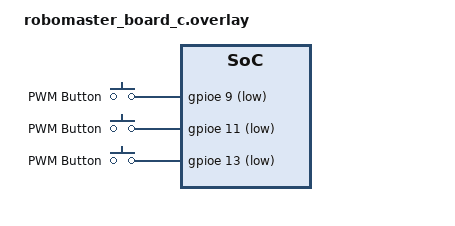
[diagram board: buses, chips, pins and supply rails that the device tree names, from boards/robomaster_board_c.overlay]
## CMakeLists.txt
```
# SPDX-License-Identifier: Apache-2.0

cmake_minimum_required(VERSION 3.20.0)

find_package(Zephyr REQUIRED HINTS $ENV{ZEPHYR_BASE})
project(motor)

target_include_directories(app PUBLIC
  ${CMAKE_CURRENT_SOURCE_DIR}/include
)

FILE(GLOB app_sources "src/*.c")
target_sources(app PRIVATE ${app_sources})
```

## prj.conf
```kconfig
# 启用线程分析器
CONFIG_THREAD_ANALYZER=y
CONFIG_THREAD_ANALYZER_USE_LOG=y
CONFIG_THREAD_ANALYZER_USE_PRINTK=n
CONFIG_THREAD_NAME=y
# CONFIG_THREAD_ANALYZER_AUTO=y
# CONFIG_THREAD_ANALYZER_AUTO_INTERVAL=5
CONFIG_THREAD_ANALYZER_LOG_LEVEL_INF=y
CONFIG_THREAD_ANALYZER_AUTO_SEPARATE_CORES=n


# # 调试
# CONFIG_LOG_MODE_IMMEDIATE=y
# CONFIG_ASSERT=y
# CONFIG_DEBUG_INFO=y
# CONFIG_THREAD_STACK_INFO=y
# CONFIG_STACK_SENTINEL=y

# 启用 Shell 支持
CONFIG_SHELL=n
CONFIG_SHELL_BACKENDS=n
CONFIG_SHELL_BACKEND_SERIAL=n

# 启用 UART 控制台
CONFIG_UART_CONSOLE=y

# 禁用 SEGGER RTT
CONFIG_USE_SEGGER_RTT=n

# 启用事件支持
CONFIG_EVENTS=y

# 启用控制台支持
CONFIG_CONSOLE=y
CONFIG_LOG=y

# 启用串行支持
CONFIG_SERIAL=y
CONFIG_SPI_ASYNC=y
# 禁用优化
CONFIG_NO_OPTIMIZATIONS=n

# 启用驱动
CONFIG_MOTOR=y
CONFIG_MOTOR_COMMON=y
CONFIG_MOTOR_DJI=y
CONFIG_MOTOR_MI=y
CONFIG_MOTOR_DM=y
CONFIG_MOTOR_LOG_LEVEL=4
CONFIG_CAN=y
CONFIG_MOTOR_INIT_PRIORITY=90
CONFIG_PID=y

CONFIG_ARES=y
CONFIG_ARES_SBUS=y
CONFIG_SBUS_INIT_PRIORITY=90
CONFIG_ARES_COMM_LIB=y
CONFIG_DUAL_PROPOSE_PROTOCOL=y
CONFIG_EKF_LIB=y

# use ASYNC uart API
CONFIG_SERIAL=y
CONFIG_UART_ASYNC_API=y
CONFIG_UART_INTERRUPT_DRIVEN=y
CONFIG_UART_INTERFACE=y
CONFIG_USB_BULK_INTERFACE=y

CONFIG_DMA=y
CONFIG_DMA_STM32=y  # STM32 DMA 驱动
CONFIG_UART_STM32=y # STM32 UART 驱动
# CONFIG_STM32_UART_DMA=y

# CONFIG_HAS_STM32CUBE=y
# CONFIG_USE_STM32_HAL_DMA=y
CONFIG_SPI=y
CONFIG_SPI_STM32=y

CONFIG_AUTO_PROBE_GYRO_BIAS=y
CONFIG_CHASSIS=y
CONFIG_CMSIS_DSP_QUATERNIONMATH=y
#
# Device Drivers
#
# CONFIG_SENSOR=y
# CONFIG_BMI08X=y
# CONFIG_BMI08X_ACCEL_TRIGGER_NONE is not set
# CONFIG_BMI08X_ACCEL_TRIGGER_GLOBAL_THREAD=y
# CONFIG_BMI08X_ACCEL_TRIGGER_OWN_THREAD is not set
# CONFIG_BMI08X_GYRO_TRIGGER_NONE is not set
# CONFIG_BMI08X_GYRO_TRIGGER_GLOBAL_THREAD=y
# CONFIG_BMI08X_GYRO_TRIGGER_OWN_THREAD is not set
# CONFIG_BMI08X_I2C_WRITE_BURST_SIZE=16


CONFIG_DEBUG_THREAD_INFO=y

CONFIG_MAIN_STACK_SIZE=4096

CONFIG_NET_BUF=y
CONFIG_UDC_DRIVER_LOG_LEVEL_WRN=y
CONFIG_USBD_LOG_LEVEL_WRN=y
```

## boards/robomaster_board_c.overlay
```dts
/ {
    chassis: chassis {
		compatible = "ares,chassis";
		status = "okay";
		wheels = <&steerwheel1 2550  1781>,
				<&steerwheel2  0 (-3110)>,
				<&steerwheel3 (-2550) 1781>;
		angle-pid = <&chassis_roll_angle_pid>;
		max_linear_accel = "7.8";
		max_gyro = "20";
	};
	steerwheel {
		steerwheel1: steerwheel1 {
			#wheel-cells = <2>;
			compatible = "ares,steerwheel";
			status = "okay";
			steer-motor = <&motor_steer0>;
			wheel-motor = <&motor_wheel0>;
			wheel-radius = "0.555";
			angle-offset = "126";
		};

		steerwheel2: steerwheel2 {
			#wheel-cells = <2>;
			compatible = "ares,steerwheel";
			status = "okay";
			steer-motor = <&motor_steer1>;
			wheel-motor = <&motor_wheel1>;
			wheel-radius = "0.555";
			angle-offset = "36";
		};

		steerwheel3: steerwheel3 {
			#wheel-cells = <2>;
			compatible = "ares,steerwheel";
			status = "okay";
			steer-motor = <&motor_steer2>;
			wheel-motor = <&motor_wheel2>;
			wheel-radius = "0.555";
			angle-offset = "81";
		};
	};

	rm_motor {
		motor_wheel0: motor_wheel0{
			compatible = "dji,motor";
            is_m3508;
			id = <1>;
            rx_id = <0x201>;
            tx_id = <0x200>;
			gear_ratio = "15.7647";
			status = "okay";
			can_channel = <&can1>;
			controllers = <&wheel_angle_pid &wheel_speed_pid>;
			capabilities = "angle", "speed";
		};

		motor_wheel1: motor_wheel1{
			compatible = "dji,motor";
            is_m3508;
			id = <2>;
            rx_id = <0x202>;
            tx_id = <0x200>;
			gear_ratio = "15.7647";
			status = "okay";
			can_channel = <&can1>;
			controllers = <&wheel_angle_pid &wheel_speed_pid>;
			capabilities = "angle", "speed";
		};

		motor_wheel2: motor_wheel2{
			compatible = "dji,motor";
            is_m3508;
			id = <3>;
            rx_id = <0x203>;
            tx_id = <0x200>;
			gear_ratio = "15.7647";
			status = "okay";
			can_channel = <&can2>;
			controllers = <&wheel_angle_pid &wheel_speed_pid>;
			capabilities = "angle", "speed";
		};

		motor_steer0: motor_steer0{
			compatible = "dji,motor";
			is_m2006;
			id = <4>;
			rx_id = <0x204>;
			tx_id = <0x200>;
			gear_ratio = "36.0";
			status = "okay";
			can_channel = <&can1>;
			controllers = <&steer_angle_pid &steer_speed_pid>;
			capabilities = "angle", "speed";
			minor_arc;
		};

		motor_steer1: motor_steer1{
			compatible = "dji,motor";
			is_m2006;
			id = <5>;
			rx_id = <0x205>;
			tx_id = <0x1FF>;
			gear_ratio = "36.0";
			status = "okay";
			can_channel = <&can1>;
			controllers = <&steer_angle_pid &steer_speed_pid>;
			capabilities = "angle", "speed";
			minor_arc;
		};

		motor_steer2: motor_steer2{
			compatible = "dji,motor";
			is_m2006;
			id = <6>;
			rx_id = <0x206>;
			tx_id = <0x1FF>;
			gear_ratio = "36.0";
			status = "okay";
			can_channel = <&can2>;
			controllers = <&steer_angle_pid &steer_speed_pid>;
			capabilities = "angle", "speed";
			minor_arc;
		};

        motor7: motor7{
            compatible = "dji,motor";
            is_m3508;
            id = <7>;
            rx_id = <0x207>;
            tx_id = <0x1FF>;
            gear_ratio = "12.94";
            status = "okay";
            can_channel = <&can2>;
            controllers = <&angle_pid_1 &speed_pid_1>;
            capabilities = "angle", "speed";
        };

        motor8: motor8{
            compatible = "dji,motor";
            is_m3508;
            id = <8>;
            rx_id = <0x208>;
            tx_id = <0x1FF>;
            gear_ratio = "12.94";
            status = "okay";
            can_channel = <&can2>;
            controllers = <&angle_pid_1 &speed_pid_1>;
            capabilities = "angle", "speed";
        };
};
    mi_motor{
        motor1: motor1{
            compatible = "mi,motor";
            id = <1>;
            rx_id = <0x01>;
            tx_id = <0x01>;
            gear_ratio = "7.75";
            status = "okay";
            can_channel = <&can2>;
            controllers = <&mit_pid_1 &angle_pid_2 &speed_pid_2>;
            capabilities = "mit", "pv", "vo";
        };
        
        motor2: motor2{
            compatible = "mi,motor";
            id = <2>;
            rx_id = <0x02>;
            tx_id = <0x02>;
            gear_ratio = "7.75";
            status = "okay";
            can_channel = <&can2>;
            controllers = <&mit_pid_1 &angle_pid_2 &speed_pid_2>;
            capabilities = "mit", "pv", "vo";
        };

    };

   	pid {
		mit_pid_1: mit_pid_1 {
			#controller-cells = <0>;
			compatible = "pid,single";
			k_p = "95";
			k_i = "0.0";
			k_d = "47.0";
		};
		angle_pid_1: angle_pid_1 {
			#controller-cells = <0>;
			compatible = "pid,single";
			k_p = "5";
			k_d = "0.1";
		};
		speed_pid_1: speed_pid_1 {
			#controller-cells = <0>;
			compatible = "pid,single";
			k_p = "0.1";
			k_d = "0.001";
		};
		angle_pid_2: angle_pid_2 {
			#controller-cells = <0>;
			compatible = "pid,single";
			k_p = "0.7";
			k_d = "8";
		};
		speed_pid_2: speed_pid_2 {
			#controller-cells = <0>;
			compatible = "pid,single";
			k_p = "0.88";
			k_d = "0.2";
		};
        chassis_roll_angle_pid: chassis_roll_angle_pid {
			#controller-cells = <0>;
			compatible = "pid,single";
			k_p = "0.2";
			k_d = "0.27";
		};
		steer_speed_pid: steer_speed_pid {
			#controller-cells = <0>;
			compatible = "pid,single";
			k_p = "0.85";
			k_d = "10.0";
			detri_lpf = "0.95";
			out_max = "1.2";
		};

		steer_angle_pid: steer_angle_pid {
			#controller-cells = <0>;
			compatible = "pid,single";
			k_p = "0.25";
			k_d = "12.0";
			detri_lpf = "0.9985";
		};
		wheel_speed_pid: wheel_speed_pid {
			#controller-cells = <0>;
			compatible = "pid,single";
			k_p = "0.2";
			k_d = "0.2";
			detri_lpf = "0.85";
			out_max = "5.0";
		};

		wheel_angle_pid: wheel_angle_pid {
			#controller-cells = <0>;
			compatible = "pid,single";
			k_p = "3.7";
			detri_lpf = "0.85";
		};
	};

    // emvalve {
    //     compatible = "gpio-keys";
    //     emvalve1: emvalve1 {
    //         gpios = <&gpiob 12 GPIO_ACTIVE_LOW>;
    //         label = "emvalve1";
    //     };
    //     emvalve2: emvalve2 {
    //         gpios = <&gpiob 13 GPIO_ACTIVE_LOW>;
    //         label = "emvalve2";
    //     };
    // };

    sbus0: sbus0 {
        compatible = "ares,sbus";
        status = "okay";
    };

    pwm_button {
		compatible = "gpio-keys";
		pwm_button1: button_1 {
			gpios = <&gpioe 9 (GPIO_PULL_UP | GPIO_ACTIVE_LOW)>;
			label = "PWM Button";
			zephyr,code = <INPUT_KEY_1>;
		};
		pwm_button2: button_2 {
			gpios = <&gpioe 11 (GPIO_PULL_UP | GPIO_ACTIVE_LOW)>;
			label = "PWM Button";
			zephyr,code = <INPUT_KEY_2>;
		};
		pwm_button3: button_3 {
			gpios = <&gpioe 13 (GPIO_PULL_UP | GPIO_ACTIVE_LOW)>;
			label = "PWM Button";
			zephyr,code = <INPUT_KEY_3>;
		};
	};
};
&cdc_acm_uart0 {
	status = "disabled";
};
```

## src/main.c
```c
#include <stdbool.h>
#include <stddef.h>
#include <stdint.h>
#include <stdio.h>
#include <math.h>
#include <zephyr/device.h>
#include <zephyr/logging/log.h>
#include <zephyr/devicetree.h>
#include <zephyr/drivers/can.h>
#include <zephyr/debug/thread_analyzer.h>
#include <zephyr/kernel.h>
#include <zephyr/sys/printk.h>
#include <zephyr/drivers/uart.h>
#include <zephyr/drivers/motor.h>
#include <zephyr/drivers/sbus.h>
#include <zephyr/drivers/sensor.h>
#include <ares/protocol/dual/dual_protocol.h>
#include <ares/interface/uart/uart.h>
#include <ares/interface/usb/usb_bulk.h>
#include <ares/ares_comm.h>
#include <zephyr/drivers/chassis.h>
#include <ares/ekf/imu_task.h>
//设备
#include "/home/librgod/zephyr_workspace/motor/app/yunqiu/include/sbus.h"
#include "/home/librgod/zephyr_workspace/motor/app/yunqiu/include/steerwheel_device.h"
#include "/home/librgod/zephyr_workspace/motor/app/yunqiu/include/tuishe_device.h"
#include "/home/librgod/zephyr_workspace/motor/app/yunqiu/include/yunqiu_device.h"

LOG_MODULE_REGISTER(main, LOG_LEVEL_DBG);

#define G 9.80665f
#define M_PI 3.14159265358979323846f
#define orig_angle_1 156.91f  //电机1的限位角度
#define orig_angle_2 136.32f  //电机2的限位角度
#define angle_range 113.23f    //电机的总限位角度
#define IK_EPSILON 1e-9

#define HIGH_BYTE(x) ((x) >> 8)
#define LOW_BYTE(x) ((x)&0xFF)
#define COMBINE_HL8(HIGH, LOW) ((HIGH << 8) + LOW)
 
#define yunqiu_sbus 4

#define CMD_ID_START_CHASSIS_CALIB   0x9001 // PC命令底盘板开始校准

 
//  --- 将 feedback_thread_data 的声明移到全局范围 ---
 struct k_thread feedback_thread_data; // <--- 这里是关键改动
 k_tid_t feedback_tid = 0; // 如果 feedback_tid 也声明在 main 里，也要移到这里

//线程
K_THREAD_DEFINE(chassis_, 3072, chassis_thread_, NULL, NULL, NULL, 1, 0, 100);
K_THREAD_DEFINE(ball_thread, 4096, ball_movement_thread, NULL, NULL, NULL, 1, 0, 0);

// USB速度控制回调函数
// int vel_func_cb(uint32_t arg1, uint32_t arg2, uint32_t arg3)
// {
//     // 把收到的二进制参数转回浮点数，并控制底盘
//     chassis_set_speed(chassis, TO_FLOAT(arg1) * 8, -TO_FLOAT(arg2) * 8);
//     chassis_set_gyro(chassis, TO_FLOAT(arg3) * 12.0f);
    
//     // 每隔一段时间打印一下收到的数据
//     if (usb_cnt++ % 200 == 0) {
//         LOG_INF("X: %f Y: %f Gyro: %f", (double)TO_FLOAT(arg1), (double)TO_FLOAT(arg2),
//                (double)TO_FLOAT(arg3));
//     }
//     return 0;
// }

// 1. 定义通信协议和USB接口实例
DUAL_PROPOSE_PROTOCOL_DEFINE(dual_protocol);
ARES_BULK_INTERFACE_DEFINE(usb_bulk_interface);

int main(void)
{   

    k_msleep(1000);

    // 2. 绑定协议和接口
    ares_bind_interface(&usb_bulk_interface, &dual_protocol);

    // 3. 注册命令处理函数
    dual_func_add(&dual_protocol, 0x1, (dual_trans_func_t)vel_func_cb);


    ares_bind_interface(&usb_bulk_interface, &dual_protocol);
	
	
	chassis_set_enabled(chassis, false);

	LOG_INF("Starting motor calibrations...");

	calibrate_motor_start(steer_motor1, &button1);
	calibrate_motor_start(steer_motor2, &button2);
	calibrate_motor_start(steer_motor3, &button3);

	LOG_INF("All calibration processes have been started.");

	
	// Wait for all calibrations to complete
	for (int i = 0; i < calib_instance_count; i++) {
		k_sem_take(&calib_data[i].completion_sem, K_FOREVER);
	}
	begin=1;
	LOG_INF("All motors have been calibrated successfully!");
	IMU_Sensor_trig_init(accel_dev, gyro_dev);
	IMU_Sensor_set_update_cb(Sensor_update_cb);
	chassis_set_enabled(chassis, true);
	chassis_set_gyro(chassis, 0);
	chassis_set_speed(chassis, 0, 0);
	dual_func_add(&dual_protocol, 0x1, (dual_trans_func_t)vel_func_cb);


    motor_control(motor1, ENABLE_MOTOR);
    k_sleep(K_MSEC(1));
    motor_control(motor2, ENABLE_MOTOR);
    k_sleep(K_MSEC(1));
    motor_set_mode(motor1, MIT);
    k_sleep(K_MSEC(1));
    motor_set_mode(motor2, MIT);
    k_sleep(K_MSEC(1));
    motor_control(motor1, SET_ZERO);
    k_sleep(K_MSEC(1));
    motor_control(motor2, SET_ZERO);
    k_sleep(K_MSEC(1));

    motor_set_angle(motor1, 0);
    motor_set_angle(motor2, 0);

    // 设备就绪检查
    while(1)
    {
        if (!device_is_ready(motor1) || !device_is_ready(motor2) ||
            !device_is_ready(motor7) || !device_is_ready(motor8)) {
            LOG_ERR("One or more motor devices are not ready!");
        }
        else {
            break;
        }
        k_msleep(500);
    }


    while (1) {
        // 检查运球线程状态
        if (k_mutex_lock(&sbus_mutex, K_MSEC(10)) == 0) {
            bool current_ball_state = sbus_get_bool(sbus, yunqiu_sbus);
            k_mutex_unlock(&sbus_mutex);
            
            if (current_ball_state) {
                ball_thread_should_stop = false;
                LOG_INF("Main: Ball movement active");
                k_msleep(100);
                continue;
            } else {
                ball_thread_should_stop = true;
            }
        }

        // 其他电机控制逻辑...
        if (k_mutex_lock(&motor_mutex, K_MSEC(10)) == 0) {
            if (!ball_movement_active) {
                execute_lifting_control();
                execute_arm_control();
            }
            k_mutex_unlock(&motor_mutex);
        }

        k_msleep(50);
    }
}

 
```

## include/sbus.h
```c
#ifndef SBUS_H
#define SBUS_H

#include <zephyr/device.h>
#include <zephyr/devicetree.h>
#include <zephyr/drivers/gpio.h>

#define SBUS_NODE DT_NODELABEL(sbus0)
extern const struct device *sbus;

bool sbus_get_bool(const struct device *sbus, int channel);

#endif //SBUS_H
```

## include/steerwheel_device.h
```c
#ifndef STEERWHEEL_DEVICE_H
#define STEERWHEEL_DEVICE_H

#include <zephyr/device.h>
#include <zephyr/devicetree.h>
#include <zephyr/drivers/gpio.h>
#include "ares/ekf/QuaternionEKF.h"

#define CPU_NODE DT_NODELABEL(cpu0)
extern const struct device *cpu_dev;


#define ACCEL_NODE DT_NODELABEL(bmi08x_accel)
extern const struct device *accel_dev;

#define GYRO_NODE DT_NODELABEL(bmi08x_gyro)
extern const struct device *gyro_dev;

#define WHEELMOTOR1_NODE DT_NODELABEL(motor_wheel0)
#define WHEELMOTOR2_NODE DT_NODELABEL(motor_wheel1)
#define WHEELMOTOR3_NODE DT_NODELABEL(motor_wheel2)

#define STEERMOTOR1_NODE DT_NODELABEL(motor_steer0)
#define STEERMOTOR2_NODE DT_NODELABEL(motor_steer1)
#define STEERMOTOR3_NODE DT_NODELABEL(motor_steer2)

#define BUTTON1_NODE DT_NODELABEL(pwm_button1)
#define BUTTON2_NODE DT_NODELABEL(pwm_button2)
#define BUTTON3_NODE DT_NODELABEL(pwm_button3)

#define CHASSIS_NODE DT_NODELABEL(chassis)

extern const struct device *wheel_motor1;
extern const struct device *wheel_motor2;
extern const struct device *wheel_motor3;

extern const struct device *steer_motor1;
extern const struct device *steer_motor2;
extern const struct device *steer_motor3;

static const struct gpio_dt_spec button1 = GPIO_DT_SPEC_GET_OR(BUTTON1_NODE, gpios, {0});
static const struct gpio_dt_spec button2 = GPIO_DT_SPEC_GET_OR(BUTTON2_NODE, gpios, {0});
static const struct gpio_dt_spec button3 = GPIO_DT_SPEC_GET_OR(BUTTON3_NODE, gpios, {0});

extern const struct device *chassis;


#define CHASSIS_SRC_SBUS
#define MAX_MOTORS_TO_CALIBRATE 3
#define CALIBRATION_STACK_SIZE  2048
extern int pub_cnt;
struct motor_calibration_data {
	const struct device *motor_dev;
	const struct gpio_dt_spec *button;
	struct gpio_callback button_cb;
	volatile bool first_calibrate_done;
	volatile bool second_calibrate_done;
	struct k_sem completion_sem;
};


extern uint32_t prev_vel_upd_time;
extern int usb_cnt;
extern uint8_t begin;
extern struct motor_calibration_data calib_data[MAX_MOTORS_TO_CALIBRATE];
extern int calib_instance_count;
void calibration_button_pressed(const struct device *dev, struct gpio_callback *cb, uint32_t pins);
void calibration_thread_entry(void *p1, void *p2, void *p3);
int calibrate_motor_start(const struct device *motor_dev, const struct gpio_dt_spec *button);
int vel_func_cb(uint32_t arg1, uint32_t arg2, uint32_t arg3);
void chassis_thread_(void *arg1, void *arg2, void *arg3);
void Sensor_update_cb(QEKF_INS_t *QEKF);
void trans_cb(int arg);

#endif // STEERWHEEL_DEVICE_H
```

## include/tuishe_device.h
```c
#ifndef TUISHE_DEVICE_H
#define TUISHE_DEVICE_H

#include <zephyr/device.h>
#include <zephyr/devicetree.h>
#include <zephyr/drivers/gpio.h>

#define MOTOR2_NODE DT_NODELABEL(motor2)//推射大臂mi

// #define EMValve1 DT_NODELABEL(emvalve1)//电磁阀
// #define EMValve2 DT_NODELABEL(emvalve2)//电磁阀

extern const struct device *motor2;

// extern const struct gpio_dt_spec emvalve1;
// extern const struct gpio_dt_spec emvalve2;

void execute_arm_control(void);//大臂
extern float current_angle2;


#endif // TUISHE_DEVICE_H
```

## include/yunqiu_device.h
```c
#ifndef  YUNQIU_DEVICE_H
#define YUNQIU_DEVICE_H

#include <zephyr/device.h>
#include <zephyr/devicetree.h>
#include <zephyr/drivers/gpio.h>

#define MOTOR1_NODE DT_NODELABEL(motor1)//运球抬升mi
#define MOTOR7_NODE DT_NODELABEL(motor7)//运球3508
#define MOTOR8_NODE DT_NODELABEL(motor8)//运球3508

extern const struct device *motor1;
extern const struct device *motor7;
extern const struct device *motor8;

extern float current_angle1;

void execute_ball_movement(void);
void ball_movement_thread(void *arg1, void *arg2, void *arg3);
void execute_lifting_control(void);//运球抬升

extern volatile bool ball_movement_active;
extern volatile bool ball_thread_should_stop;

extern struct k_mutex sbus_mutex;
extern struct k_mutex motor_mutex;


#endif // YUNQIU_DEVICE_H
```

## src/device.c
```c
#include "device.h"

// 实际定义设备指针变量
const struct device *cpu_dev = DEVICE_DT_GET(CPU_NODE);
const struct device *motor1 = DEVICE_DT_GET(MOTOR1_NODE);
const struct device *motor2 = DEVICE_DT_GET(MOTOR2_NODE);
const struct device *motor3 = DEVICE_DT_GET(MOTOR3_NODE);
// const struct device *motor4 = DEVICE_DT_GET(MOTOR4_NODE);
const struct device *motor5 = DEVICE_DT_GET(MOTOR5_NODE);
const struct device *motor6 = DEVICE_DT_GET(MOTOR6_NODE);
//const struct device *motor7 = DEVICE_DT_GET(MOTOR7_NODE);
//const struct device *motor8 = DEVICE_DT_GET(MOTOR8_NODE);
const struct device *sbus = DEVICE_DT_GET(SBUS_NODE);
const struct gpio_dt_spec emvalve = GPIO_DT_SPEC_GET_BY_IDX(EMValve, gpios, 0);
```

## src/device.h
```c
#ifndef DEVICE_H
#define DEVICE_H

#include <zephyr/device.h>
#include <zephyr/devicetree.h>
#include <zephyr/drivers/gpio.h>

/* Devicetree */
#define ACCEL_NODE DT_NODELABEL(bmi08x_accel)
const struct device *accel_dev = DEVICE_DT_GET(ACCEL_NODE);

#define GYRO_NODE DT_NODELABEL(bmi08x_gyro)
const struct device *gyro_dev = DEVICE_DT_GET(GYRO_NODE);

#define WHEELMOTOR1_NODE DT_NODELABEL(motor_wheel0)
#define WHEELMOTOR2_NODE DT_NODELABEL(motor_wheel1)
#define WHEELMOTOR3_NODE DT_NODELABEL(motor_wheel2)

#define STEERMOTOR1_NODE DT_NODELABEL(motor_steer0)
#define STEERMOTOR2_NODE DT_NODELABEL(motor_steer1)
#define STEERMOTOR3_NODE DT_NODELABEL(motor_steer2)

#define MOTOR1_NODE DT_NODELABEL(motor1)//运球抬升mi
#define MOTOR2_NODE DT_NODELABEL(motor2)//推射mi
#define MOTOR7_NODE DT_NODELABEL(motor7)//运球3508
#define MOTOR8_NODE DT_NODELABEL(motor8)//运球3508

#define BUTTON1_NODE DT_NODELABEL(pwm_button1)
#define BUTTON2_NODE DT_NODELABEL(pwm_button2)
#define BUTTON3_NODE DT_NODELABEL(pwm_button3)

#define CHASSIS_NODE DT_NODELABEL(chassis)

#define EMValve1 DT_NODELABEL(emvalve1)
#define EMValve2 DT_NODELABEL(emvalve2)
#define SBUS_NODE DT_NODELABEL(sbus0)
#define CPU_NODE DT_NODELABEL(cpu0)

const struct device *cpu_dev = DEVICE_DT_GET(CPU_NODE);

const struct device *wheel_motor1 = DEVICE_DT_GET(WHEELMOTOR1_NODE);
const struct device *wheel_motor2 = DEVICE_DT_GET(WHEELMOTOR2_NODE);
const struct device *wheel_motor3 = DEVICE_DT_GET(WHEELMOTOR3_NODE);

const struct device *steer_motor1 = DEVICE_DT_GET(STEERMOTOR1_NODE);
const struct device *steer_motor2 = DEVICE_DT_GET(STEERMOTOR2_NODE);
const struct device *steer_motor3 = DEVICE_DT_GET(STEERMOTOR3_NODE);

const struct device *motor1 = DEVICE_DT_GET(MOTOR1_NODE);
const struct device *motor2 = DEVICE_DT_GET(MOTOR2_NODE);

const struct device *motor7 = DEVICE_DT_GET(MOTOR7_NODE);
const struct device *motor8 = DEVICE_DT_GET(MOTOR8_NODE);

const struct gpio_dt_spec emvalve1 = GPIO_DT_SPEC_GET_BY_IDX(EMValve1, gpios, 0);
const struct gpio_dt_spec emvalve2 = GPIO_DT_SPEC_GET_BY_IDX(EMValve2, gpios, 0);

static const struct gpio_dt_spec button1 = GPIO_DT_SPEC_GET_OR(BUTTON1_NODE, gpios, {0});
static const struct gpio_dt_spec button2 = GPIO_DT_SPEC_GET_OR(BUTTON2_NODE, gpios, {0});
static const struct gpio_dt_spec button3 = GPIO_DT_SPEC_GET_OR(BUTTON3_NODE, gpios, {0});

const struct device *chassis = DEVICE_DT_GET(CHASSIS_NODE);


const struct device *sbus = DEVICE_DT_GET(SBUS_NODE);

#endif // DEVICE_H
```

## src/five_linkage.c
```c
#include "five_linkage.h"
#include "device.h"

// 全局变量定义
float phi1, phi2, phi3, phi4;
float last_target_angle1 = 0.0f, last_target_angle2 = 0.0f;

// 辅助函数实现
double distSq(Point p1, Point p2) {
    return (p1.x - p2.x) * (p1.x - p2.x) + (p1.y - p2.y) * (p1.y - p2.y);
}

int get_circle_intersections(Point p1, double r1, Point p2, double r2, Point* i1, Point* i2) {
    double d = sqrt(distSq(p1, p2));
    if (d > r1 + r2 + IK_EPSILON || d < fabs(r1 - r2) - IK_EPSILON) return 0;
    
    double a = (r1*r1 - r2*r2 + d*d) / (2.0 * d);
    double h_sq = r1*r1 - a*a;
    double h = (h_sq > 0) ? sqrt(h_sq) : 0;
    
    Point p_mid = {p1.x + a * (p2.x - p1.x) / d, p1.y + a * (p2.y - p1.y) / d};
    
    i1->x = p_mid.x + h * (p2.y - p1.y) / d; i1->y = p_mid.y - h * (p2.x - p1.x) / d;
    i2->x = p_mid.x - h * (p2.y - p1.y) / d; i2->y = p_mid.y + h * (p2.x - p1.x) / d;

    return (h < IK_EPSILON) ? 1 : 2;
}

double normalize_angle(double angle) {
    return atan2(sin(angle), cos(angle));
}

// 五连杆函数实现
void five_init(Five *link, float l1, float l2, float l3, float l4, float l5) {
    link->l1 = l1;
    link->l2 = l2;
    link->l3 = l3;
    link->l4 = l4;
    link->l5 = l5;
    link->X_C = 0.0f;
    link->Y_C = 0.0f;
}

void update_position(Five *link, float X, float Y) {
    link->X_C = X;
    link->Y_C = Y;
}

void inverse_kinematics(Five *link, float *phi1, float *phi2, float *phi3, float *phi4) {
    // --- 1. 坐标系转换 ---
    double Bx = link->X_C + link->l5 / 2.0;
    double By = link->Y_C;
    double L1 = link->l1, L2 = link->l2, L3 = link->l3, L4 = link->l4, L5 = link->l5;
    
    Point O = {0.0, 0.0}, D = {L5, 0.0}, B = {Bx, By};

    // --- 2. 求解可能的中间点 ---
    Point possible_A[2], possible_C[2];
    int num_A = get_circle_intersections(O, L1, B, L2, &possible_A[0], &possible_A[1]);
    int num_C = get_circle_intersections(D, L4, B, L3, &possible_C[0], &possible_C[1]);

    if (num_A == 0 || num_C == 0) {
        *phi1 = *phi2 = *phi3 = *phi4 = NAN;
        return;
    }

    // --- 3. 遍历所有组合，直接找到最优解 ---
    bool solution_found = false;
    double best_theta1 = -INFINITY;
    double best_theta4 = +INFINITY;

    for (int i = 0; i < num_A; ++i) {
        for (int j = 0; j < num_C; ++j) {
            double current_theta1 = atan2(possible_A[i].y, possible_A[i].x);
            double current_theta4 = atan2(possible_C[j].y - D.y, possible_C[j].x - D.x);
            
            solution_found = true;

            if (current_theta1 > best_theta1 + IK_EPSILON) {
                best_theta1 = current_theta1;
                best_theta4 = current_theta4;
            } else if (fabs(current_theta1 - best_theta1) < IK_EPSILON) {
                if (current_theta4 < best_theta4 - IK_EPSILON) {
                    best_theta4 = current_theta4;
                }
            }
        }
    }

    if (!solution_found) {
        *phi1 = *phi2 = *phi3 = *phi4 = NAN;
        return;
    }
    
    // --- 4. 使用找到的最优解计算所有角度 ---
    double p1_rad = best_theta1;
    double p4_rad = best_theta4;

    Point A = {L1 * cos(p1_rad), L1 * sin(p1_rad)};
    Point C = {D.x + L4 * cos(p4_rad), D.y + L4 * sin(p4_rad)};
    
    double theta_L2 = atan2(B.y - A.y, B.x - A.x);
    double theta_L3 = atan2(B.y - C.y, B.x - C.x);

    double p2_rad = normalize_angle(theta_L2 - p1_rad);
    double p3_rad = normalize_angle(theta_L3 - p4_rad);
    
    // --- 5. 返回结果 ---
    *phi1 = (float)p1_rad;
    *phi2 = (float)p2_rad;
    *phi3 = (float)p3_rad;
    *phi4 = (float)p4_rad;
}

void range_check(float* angle_1, float* angle_2) {
    if(*angle_1 < -angle_range) {
        *angle_1 = -angle_range;
    }
    if(*angle_2 > angle_range) {
        *angle_2 = angle_range;
    }
}

void init_position(void) {
    int i = 0;
    while(i < 100) {
        motor_set_mit(motor5, 0.0f, (10.0f + i), 0.0f);
        motor_set_mit(motor6, 0.0f, -(10.0f + i), 0.0f);
        i++;
        k_sleep(K_MSEC(10));
    }
    k_sleep(K_MSEC(100));

    motor_control(motor6, SET_ZERO);
    k_sleep(K_MSEC(5));
    motor_control(motor5, SET_ZERO);
    k_sleep(K_MSEC(5));

    motor_set_mit(motor5, 0.0f, 0.0f, 0.1f);
    k_sleep(K_MSEC(5));
    motor_set_mit(motor6, 0.0f, 0.0f, 0.1f);
    k_sleep(K_MSEC(5));

    
}

void go_to_position(Five *link, float X, float Y) {
    update_position(link, X, Y);
    inverse_kinematics(link, &phi1, &phi2, &phi3, &phi4);

    motor_set_mit(motor5, 0.0f, (((phi1 / M_PI) * 180.f) - orig_angle_1 + last_target_angle1) - last_target_angle1, 0.1f);
    motor_set_mit(motor6, 0.0f, (-last_target_angle2 + orig_angle_2 - ((phi4 / M_PI) * 180.f)) + last_target_angle2, 0.1f);
    
    last_target_angle1 = orig_angle_1 - ((phi1 / M_PI) * 180.f);
    last_target_angle2 = orig_angle_2 - ((phi4 / M_PI) * 180.f);
}
```

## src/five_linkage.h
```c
#ifndef FIVE_LINKAGE_H
#define FIVE_LINKAGE_H

#include <math.h>
#include <zephyr/drivers/motor.h>
#include <zephyr/kernel.h>
#include <zephyr/logging/log.h>

// 五连杆相关常量定义
#define M_PI 3.14159265358979323846f
#define orig_angle_1 163.35f  // 电机1的限位角度
#define orig_angle_2 139.59f  // 电机2的限位角度
#define angle_range 113.23f   // 电机的总限位角度
#define IK_EPSILON 1e-9

// 五连杆数据结构
typedef struct {
    float l1, l2, l3, l4, l5;
    float X_C, Y_C;
} Five; // 五连杆参数

// 辅助点结构
typedef struct { 
    double x, y; 
} Point;

// 全局变量声明
extern float phi1, phi2, phi3, phi4;
extern float last_target_angle1, last_target_angle2;

// 五连杆函数声明
/**
 * @brief 五连杆初始化
 * @param link 五连杆参数
 * @param l1 连杆1长度
 * @param l2 连杆2长度
 * @param l3 连杆3长度
 * @param l4 连杆4长度
 * @param l5 连杆5长度
 */
void five_init(Five *link, float l1, float l2, float l3, float l4, float l5);

/**
 * @brief 更新末端坐标
 * @param link 五连杆参数
 * @param X 末端坐标 X
 * @param Y 末端坐标 Y
 */
void update_position(Five *link, float X, float Y);

/**
 * @brief 五连杆逆运动学解算
 * @param link 五连杆参数, 包含以 l5 中点为原点的末端坐标 (X_C, Y_C)
 * @param phi1 输出: 电机1 (左) 的角度 (rad)
 * @param phi2 输出: 连杆1和2之间的夹角 (rad)
 * @param phi3 输出: 连杆4和3之间的夹角 (rad)
 * @param phi4 输出: 电机2 (右) 的角度 (rad)
 */
void inverse_kinematics(Five *link, float *phi1, float *phi2, float *phi3, float *phi4);

/**
 * @brief 检查角度是否合理
 * @param angle_1 角度1指针
 * @param angle_2 角度2指针
 */
void range_check(float* angle_1, float* angle_2);

/**
 * @brief 五连杆电机位置初始化
 */
void init_position(void);

/**
 * @brief 电机位置控制
 * @param link 五连杆参数
 * @param X 末端坐标 X
 * @param Y 末端坐标 Y
 */
void go_to_position(Five *link, float X, float Y);

// 辅助函数声明
/**
 * @brief 计算两点间距离的平方
 */
double distSq(Point p1, Point p2);

/**
 * @brief 计算两圆交点
 */
int get_circle_intersections(Point p1, double r1, Point p2, double r2, Point* i1, Point* i2);

/**
 * @brief 角度归一化
 */
double normalize_angle(double angle);

#endif // FIVE_LINKAGE_H
```

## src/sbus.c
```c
#include "/home/librgod/zephyr_workspace/motor/app/yunqiu/include/sbus.h"
#include <zephyr/drivers/sbus.h>

const struct device *sbus = DEVICE_DT_GET(SBUS_NODE);

bool sbus_get_bool(const struct device *sbus, int channel)
{
	sbus_get_digit(sbus, channel);
	return (double)sbus_get_percent(sbus, channel) > 0.5;
}
```

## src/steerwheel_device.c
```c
#include <ares/interface/uart/uart.h>
#include <zephyr/debug/thread_analyzer.h>
#include <arm_math.h>
#include <zephyr/debug/thread_analyzer.h>
#include <ares/interface/usb/usb_bulk.h>
#include <zephyr/drivers/gpio.h>
#include <math.h>
#include <stdbool.h>
#include <stddef.h>
#include <stdint.h>
#include <zephyr/device.h>
#include <zephyr/logging/log.h>
#include <zephyr/kernel.h>
#include <zephyr/drivers/motor.h>
#include <zephyr/drivers/sbus.h>
#include <zephyr/drivers/chassis.h>
#include <ares/board/init.h>
#include <ares/ekf/imu_task.h>
#include <ares/protocol/dual/dual_protocol.h>
#include "ares/ekf/QuaternionEKF.h"
#include "/home/librgod/zephyr_workspace/motor/app/yunqiu/include/sbus.h"
#include "/home/librgod/zephyr_workspace/motor/app/yunqiu/include/steerwheel_device.h"

LOG_MODULE_REGISTER(steerwheel, LOG_LEVEL_DBG);

const struct device *cpu_dev = DEVICE_DT_GET(CPU_NODE);
const struct device *accel_dev = DEVICE_DT_GET(ACCEL_NODE);
const struct device *gyro_dev = DEVICE_DT_GET(GYRO_NODE);
const struct device *wheel_motor1 = DEVICE_DT_GET(WHEELMOTOR1_NODE);
const struct device *wheel_motor2 = DEVICE_DT_GET(WHEELMOTOR2_NODE);
const struct device *wheel_motor3 = DEVICE_DT_GET(WHEELMOTOR3_NODE);

const struct device *steer_motor1 = DEVICE_DT_GET(STEERMOTOR1_NODE);
const struct device *steer_motor2 = DEVICE_DT_GET(STEERMOTOR2_NODE);
const struct device *steer_motor3 = DEVICE_DT_GET(STEERMOTOR3_NODE);
const struct device *chassis = DEVICE_DT_GET(CHASSIS_NODE);


int pub_cnt = 0;
struct motor_calibration_data calib_data[MAX_MOTORS_TO_CALIBRATE];
K_THREAD_STACK_ARRAY_DEFINE(calib_stacks, MAX_MOTORS_TO_CALIBRATE, CALIBRATION_STACK_SIZE);
static struct k_thread calib_threads[MAX_MOTORS_TO_CALIBRATE];
uint32_t prev_vel_upd_time = 0;
int usb_cnt = 0;
uint8_t begin=0;
int calib_instance_count = 0;
static float chassis_ctrl[3] = {0.0f};

void calibration_button_pressed(const struct device *dev, struct gpio_callback *cb, uint32_t pins)
{
	struct motor_calibration_data *data =
		CONTAINER_OF(cb, struct motor_calibration_data, button_cb);

	if (!data->first_calibrate_done) {
		LOG_INF("Motor %s: First calibration point reached.", data->motor_dev->name);
		data->first_calibrate_done = true;
	} else if (!data->second_calibrate_done) {
		LOG_INF("Motor %s: Second calibration point reached.", data->motor_dev->name);
		data->second_calibrate_done = true;
	}
}

void calibration_thread_entry(void *p1, void *p2, void *p3)
{
	struct motor_calibration_data *data = (struct motor_calibration_data *)p1;
	k_msleep(100);
	motor_control(data->motor_dev, ENABLE_MOTOR);
	k_msleep(200);
	motor_set_speed(data->motor_dev, 15);

	LOG_INF("%s Steer torque is %f.", data->motor_dev->name, (double)motor_get_torque(data->motor_dev));

	while (!data->first_calibrate_done) {
		k_msleep(1);
	}

	motor_set_speed(data->motor_dev, 8);
	k_msleep(300);
	motor_set_speed(data->motor_dev, -6);

	while (!data->second_calibrate_done) {
		k_msleep(1);
	}

	motor_set_speed(data->motor_dev, 0);
	motor_control(data->motor_dev, SET_ZERO);

	gpio_remove_callback(data->button->port, &data->button_cb);
	LOG_INF("Calibration for motor %s complete.", data->motor_dev->name);
	k_sem_give(&data->completion_sem);
}

int calibrate_motor_start(const struct device *motor_dev, const struct gpio_dt_spec *button)
{
	if (calib_instance_count >= MAX_MOTORS_TO_CALIBRATE) {
		LOG_ERR("Maximum number of calibrations reached");
		return -ENOMEM;
	}

	if (!device_is_ready(motor_dev)) {
		LOG_ERR("Motor device %s is not ready", motor_dev->name);
		return -ENODEV;
	}

	if (!device_is_ready(button->port)) {
		LOG_ERR("Button device %s is not ready", button->port->name);
		return -ENODEV;
	}

	int instance_idx = calib_instance_count;
	struct motor_calibration_data *data = &calib_data[instance_idx];

	data->motor_dev = motor_dev;
	data->button = button;
	data->first_calibrate_done = false;
	data->second_calibrate_done = false;
	k_sem_init(&data->completion_sem, 0, 1);

	int ret = gpio_pin_configure_dt(button, GPIO_INPUT);
	if (ret < 0) {
		LOG_ERR("Failed to configure button GPIO for motor %s: %d", motor_dev->name, ret);
		return ret;
	}
	ret = gpio_pin_interrupt_configure_dt(button, GPIO_INT_EDGE_TO_ACTIVE);
	if (ret != 0) {
		LOG_ERR("Failed to configure interrupt for motor %s: %d", motor_dev->name, ret);
		return ret;
	}

	gpio_init_callback(&data->button_cb, calibration_button_pressed, BIT(button->pin));
	gpio_add_callback(button->port, &data->button_cb);

	k_thread_create(&calib_threads[instance_idx], calib_stacks[instance_idx],
			CALIBRATION_STACK_SIZE, calibration_thread_entry, data, NULL, NULL, 5, 0,
			K_NO_WAIT);

	calib_instance_count++;
	LOG_INF("Started calibration for motor %s", motor_dev->name);
	return 0;
}

int vel_func_cb(uint32_t arg1, uint32_t arg2, uint32_t arg3)
{
#ifdef CHASSIS_SRC_USB
	chassis_ctrl[0] = TO_FLOAT(arg1);
	chassis_ctrl[1] = TO_FLOAT(arg2);
	chassis_ctrl[2] = TO_FLOAT(arg3);
	if (usb_cnt++ % 100 == 0) {
		// LOG_INF("Arg1: 0x%08x Arg2: 0x%08x Arg3: 0x%08x", arg1, arg2, arg3);
		LOG_INF("X: %f Y: %f Gyro: %f", (double)TO_FLOAT(arg1), (double)TO_FLOAT(arg2),
			(double)TO_FLOAT(arg3));
	}
	prev_vel_upd_time = k_uptime_get_32();
#endif
	return 0;
}

void chassis_thread_(void *arg1, void *arg2, void *arg3)
{
	// float angle = 0;
	int cnt = 0;
	uint32_t stop_time = 0;
	while (1) {
		k_msleep(2);

		// angle += sbus_get_percent(sbus, 0) * 0.8f;
		// angle = fmodf(angle, 360);
		float X = sbus_get_percent(sbus, 3);
		float Y = sbus_get_percent(sbus, 1);
		float gyro = sbus_get_percent(sbus, 0);

		if (sqrtf(X * X + Y * Y) > 0.09f || fabsf(gyro) > 0.09f) {
			chassis_set_static(chassis, false);
			chassis_set_speed(chassis, X * 10.0f, -Y * 10.0f);
			// chassis_set_angle(chassis, 0);
			chassis_set_gyro(chassis, -gyro * 10.0f);
			stop_time = 0;
		} else if ((chassis_ctrl[0] * chassis_ctrl[0] + chassis_ctrl[1] * chassis_ctrl[1]) >
				   0.09f ||
			   fabsf(chassis_ctrl[2]) > 0.09f) {
			if (k_uptime_get_32() - prev_vel_upd_time > 300) {
				chassis_ctrl[0] = 0.0f;
				chassis_ctrl[1] = 0.0f;
				chassis_ctrl[2] = 0.0f;
			}
			chassis_set_static(chassis, false);
			chassis_set_speed(chassis, chassis_ctrl[0], chassis_ctrl[1]);
			chassis_set_gyro(chassis, chassis_ctrl[2]);
			stop_time = 0;
		} else {
			if (stop_time == 0) {
				stop_time = k_uptime_get_32();
			}
			if (k_uptime_get_32() - stop_time > 200) {
				chassis_set_static(chassis, true);
				// chassis_set_speed(chassis, 0, 0.1);
			}
		}

		if (cnt++ % 50 == 0) {
			// LOG_INF("speed yq1: %f speed yq2: %f speed yq3: %f",
			// motor_get_speed(yq1), 	motor_get_speed(yq2), motor_get_speed(yq3));
			// LOG_INF("torque yq1: %f torque yq2: %f torque yq3: %f",
			// 	motor_get_torque(yq1), motor_get_torque(yq2),
			// 	motor_get_torque(yq3));
			// LOG_INF("gyro: %f", chassis_get_status(chassis)->gyro);
			// LOG_INF("X: %f Y: %f", X, Y);
		}
	}
}

void Sensor_update_cb(QEKF_INS_t *QEKF)
{
	
	struct pos_data pos = {0};
	pos.Yaw = -QEKF->Yaw;
	pos.accel[0] = QEKF->Accel[X];
	pos.accel[1] = QEKF->Accel[Y];
	pos.accel[2] = QEKF->Accel[Z];
	// int ret = 0;

	if (pub_cnt++ % 3) {
		// chassis_update_sensor(chassis, &pos)

	}
}
void trans_cb(int arg)
{
	return;
}
```

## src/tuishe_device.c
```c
#include <stdbool.h>
#include <stddef.h>
#include <stdint.h>
#include <stdio.h>
#include <math.h>
#include <zephyr/device.h>
#include <zephyr/logging/log.h>
#include <zephyr/devicetree.h>
#include <zephyr/drivers/can.h>
#include <zephyr/debug/thread_analyzer.h>
#include <zephyr/kernel.h>
#include <zephyr/sys/printk.h>
#include <zephyr/drivers/uart.h>
#include <zephyr/drivers/motor.h>
#include <zephyr/drivers/sbus.h>
#include <zephyr/drivers/sensor.h>
#include <ares/protocol/dual/dual_protocol.h>
#include <ares/interface/uart/uart.h>
#include <ares/interface/usb/usb_bulk.h>
#include "/home/librgod/zephyr_workspace/motor/app/yunqiu/include/tuishe_device.h"
#include "/home/librgod/zephyr_workspace/motor/app/yunqiu/include/sbus.h"

#define dabi_sbus 7

LOG_MODULE_REGISTER(tuishe, LOG_LEVEL_DBG);

const struct device *motor2 = DEVICE_DT_GET(MOTOR2_NODE);

// const struct gpio_dt_spec emvalve1 = GPIO_DT_SPEC_GET_BY_IDX(EMValve1, gpios, 0);
// const struct gpio_dt_spec emvalve2 = GPIO_DT_SPEC_GET_BY_IDX(EMValve2, gpios, 0);

float current_angle2 = 0.0f; // 当前电机2角度（推射抬升mi）

static bool arm_position_reached_90 = false;
static bool arm_position_reached_60 = false;

void execute_arm_control(void)//大臂
{
    current_angle2 = motor_get_angle(motor2);
    if (sbus_get_percent(sbus, dabi_sbus) > 0.5f) {
        if (!arm_position_reached_90) { // 只有未完成抬升时才执行
            // 逐渐抬升到 -80.0f
            for (int i = 1; i <= 10; i++) {
                float target_angle = ((-86.0f - current_angle2) * (float)i / 10.0f) + current_angle2;
                motor_set_mit(motor2, 0.0f, target_angle, -0.6f);
                k_msleep(60);
            }
            arm_position_reached_90 = true; // 标记为已完成抬升
            arm_position_reached_60 = false; // 重置状态
        }
    } 
    
    else if(sbus_get_percent(sbus, dabi_sbus) == 0.0f) {
        if (!arm_position_reached_60) { // 只有未完成抬升时才执行
            // 逐渐抬升到 -60.0f
            for (int i = 1; i <= 10; i++) {
                float target_angle = ((-60.0f - current_angle2) * (float)i / 10.0f) + current_angle2;
                motor_set_mit(motor2, 0.0f, target_angle, 0.1f);
                k_msleep(30);
            }
            arm_position_reached_60 = true; // 标记为已完成抬升
            arm_position_reached_90 = false; // 重置状态
        }
    }
    
    else {
        if (arm_position_reached_60 || arm_position_reached_90) { // 只有未完成下降时才执行
            // 逐渐下降到 0.0f
            for (int i = 1; i <= 10; i++) {
                float target_angle = ((0.0f - current_angle2) * (float)i / 10.0f) + current_angle2;
                motor_set_mit(motor2, 0.0f, target_angle, 1.5f);
                k_msleep(60);
            }
            arm_position_reached_60 = false;
            arm_position_reached_90 = false; // 标记为已完成下降
        }
    }
}
```

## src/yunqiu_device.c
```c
#include <stdbool.h>
#include <stddef.h>
#include <stdint.h>
#include <stdio.h>
#include <math.h>
#include <zephyr/device.h>
#include <zephyr/logging/log.h>
#include <zephyr/devicetree.h>
#include <zephyr/drivers/can.h>
#include <zephyr/debug/thread_analyzer.h>
#include <zephyr/kernel.h>
#include <zephyr/sys/printk.h>
#include <zephyr/drivers/uart.h>
#include <zephyr/drivers/motor.h>
#include <zephyr/drivers/sbus.h>
#include <zephyr/drivers/sensor.h>
#include <ares/protocol/dual/dual_protocol.h>
#include <ares/interface/uart/uart.h>
#include <ares/interface/usb/usb_bulk.h>
#include "/home/librgod/zephyr_workspace/motor/app/yunqiu/include/sbus.h"
#include "/home/librgod/zephyr_workspace/motor/app/yunqiu/include/yunqiu_device.h"

#define yunqiu_sbus 4
#define taisheng_sbus 5
#define taisheng_angle 93.0f

LOG_MODULE_REGISTER(yunqiu, LOG_LEVEL_DBG);

const struct device *motor1 = DEVICE_DT_GET(MOTOR1_NODE);
const struct device *motor7 = DEVICE_DT_GET(MOTOR7_NODE);
const struct device *motor8 = DEVICE_DT_GET(MOTOR8_NODE);

volatile bool ball_movement_active = false;
volatile bool ball_thread_should_stop = false;

float current_angle1 = 0.0f; // 当前电机1角度（运球抬升mi）
K_MUTEX_DEFINE(motor_mutex);
K_MUTEX_DEFINE(sbus_mutex);

void execute_ball_movement(void)
{
    LOG_INF("Executing ball movement sequence");
    
    // 第一阶段：加速
    motor_set_speed(motor7, 400.0);
    motor_set_speed(motor8, -400.0);
    k_msleep(200);
    
    // 检查是否应该停止
    if (ball_thread_should_stop) {
        goto cleanup;
    }
    
    // 渐减速度
    for (int i = 60; i > 0; i--) {
        if (ball_thread_should_stop) {
            goto cleanup;
        }
        motor_set_speed(motor7, 400.0f * sqrtf(i / 60.0f));
        motor_set_speed(motor8, -400.0f * sqrtf(i / 60.0f));
        k_msleep(3);
    }
    
    // 第二阶段：反向运动
    motor_set_speed(motor7, -250);
    motor_set_speed(motor8, 230);
    k_msleep(400);
    
    // 检查是否应该停止
    if (ball_thread_should_stop) {
        goto cleanup;
    }
    
    // 反向渐减
    for (int i = 50; i > 1; i--) {
        if (ball_thread_should_stop) {
            goto cleanup;
        }
        motor_set_speed(motor7, -250.0f * sqrtf(i / 100.0f));
        motor_set_speed(motor8, 230.0f * sqrtf(i / 100.0f));
        k_msleep(5);
    }
    
    // 缓慢运动
    motor_set_speed(motor7, -25);
    motor_set_speed(motor8, 20);
    k_msleep(1000);
    motor_set_speed(motor7, 0);
    motor_set_speed(motor8, 0);
    k_msleep(1000);
    
cleanup:
    // 确保电机停止
    motor_set_torque(motor7, 0);
    motor_set_torque(motor8, 0);
    LOG_INF("Ball movement sequence complete");
}

void ball_movement_thread(void *arg1, void *arg2, void *arg3)
{
    while(1)
    {
        // 获取互斥锁保护SBUS读取
        if (k_mutex_lock(&sbus_mutex, K_MSEC(10)) == 0) {
            bool sbus_ball_active = sbus_get_bool(sbus, yunqiu_sbus);
            k_mutex_unlock(&sbus_mutex);
            
            if (sbus_ball_active && !ball_thread_should_stop) {
                // 获取电机控制权
                if (k_mutex_lock(&motor_mutex, K_MSEC(50)) == 0) {
                    ball_movement_active = true;
                    LOG_INF("Ball thread: Starting ball movement");
                    
                    // 执行两次运球动作
                    execute_ball_movement();
                    // execute_ball_movement();

                    ball_movement_active = false;
                    k_mutex_unlock(&motor_mutex);
                    LOG_INF("Ball thread: Ball movement complete");
                } else {
                    LOG_WRN("Ball thread: Could not acquire motor mutex");
                }
            } else {
                // 确保电机停止
                if (k_mutex_lock(&motor_mutex, K_MSEC(10)) == 0) {
                    if (ball_movement_active) {
                        motor_set_torque(motor7, 0);
                        motor_set_torque(motor8, 0);
                        ball_movement_active = false;
                        LOG_INF("Ball thread: Motors stopped");
                    }
                    k_mutex_unlock(&motor_mutex);
                }
            }
        }
        
        k_msleep(100);  // 降低检查频率
    }
}

void execute_lifting_control(void)//运球抬升
{
    // 原有的抬升控制逻辑
    current_angle1 = motor_get_angle(motor1);
    
    static bool prev_lifting_state = false;
    static bool lifting_sequence_running = false;
    static bool target_position_reached = false;
    
    bool current_lifting_state = sbus_get_bool(sbus, taisheng_sbus);
    
    // 检测状态变化 - 类似中断触发
    if (current_lifting_state != prev_lifting_state && !lifting_sequence_running) {
        if (current_lifting_state) {
            // 开始抬升序列
            // LOG_INF("SBUS Channel 7 triggered - Starting lifting sequence");
            lifting_sequence_running = true;
            
            // 执行抬升的渐进序列
            for (int i = 1; i < 10; i++) {
                float target_angle1 = ((taisheng_angle - current_angle1) * (float)i / 9.0f) + current_angle1;

                
                motor_set_mit(motor1, 0.0f, target_angle1, 5.0f);

                
                k_msleep(80);
                
                // 检查是否被中断
                if (!sbus_get_bool(sbus, taisheng_sbus)) {
                    lifting_sequence_running = false;
                    break;
                }
            }
            
            if (lifting_sequence_running) {
                motor_set_mit(motor1, 0.0f, taisheng_angle, 2.0f);
                target_position_reached = true;
            }
            lifting_sequence_running = false;
            
        } else {
            // 开始下降序列
            // LOG_INF("Starting falling sequence");
            lifting_sequence_running = true;
            target_position_reached = false;
            
            for (int i = 1; i < 10; i++) {
                float target_angle1 = ((0.0f - current_angle1) * (float)i / 9.0f) + current_angle1;

                
                motor_set_mit(motor1, 0.0f, target_angle1, 0.0f);

                
                k_msleep(80);
                
                if (sbus_get_bool(sbus, taisheng_sbus)) {
                    lifting_sequence_running = false;
                    break;
                }
            }
            lifting_sequence_running = false;
            // LOG_INF("Falling sequence complete");
        }
        
        prev_lifting_state = current_lifting_state;
    }
    
    // 位置保持逻辑
    if (!lifting_sequence_running) {
        if (current_lifting_state && target_position_reached) {
            motor_set_mit(motor1, 0.0f, taisheng_angle, 2.0f);
        } else if (!current_lifting_state && !target_position_reached) {
            motor_set_mit(motor1, 0.0f, 0.0f, 2.0f);
        }
    }

}
```
